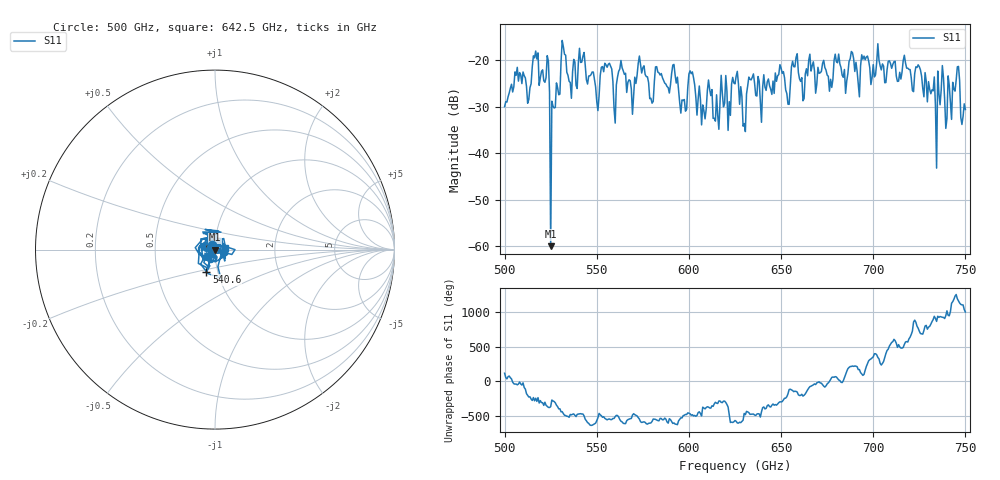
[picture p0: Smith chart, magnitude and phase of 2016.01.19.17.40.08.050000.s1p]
!Created with skrf (http://scikit-rf.org).
# GHz S RI R 50.0
!freq ReS11 ImS11
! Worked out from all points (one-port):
!   401 points, 500 GHz to 750 GHz, reference 50 ohm
!   lowest |S11| = -60.0 dB at 525 GHz (marker M1), VSWR 1.00, Z = 50.1 - j0.0104 ohm
!   |S11| at or under -10 dB: start of sweep to end of sweep
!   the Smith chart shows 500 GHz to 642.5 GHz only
!   S11 on the Smith chart (normalised r, x): 500 GHz: 0.97, +0.05; 540.6 GHz: 0.88, -0.22; 642.5 GHz: 1.12, +0.02
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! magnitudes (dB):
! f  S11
! 500 GHz  -30.0
! 506.9 GHz  -21.6
! 513.1 GHz  -28.5
! 516.9 GHz  -18.1
! 523.1 GHz  -19.1
! 525 GHz  -60.0
! 526.2 GHz  -29.9
! 526.9 GHz  -30.3
! 531.2 GHz  -15.8
! 540.6 GHz  -17.5
! 550 GHz  -28.9
! 562.5 GHz  -21.9
! 593.8 GHz  -23.7
! 597.5 GHz  -28.5
! 601.2 GHz  -22.9
! 615 GHz  -27.5
! 625 GHz  -25.1
! 630 GHz  -33.7
! 633.8 GHz  -24.3
! 642.5 GHz  -24.7
! 650 GHz  -21.7
! 653.8 GHz  -29.5
! 656.2 GHz  -20.3
! 687.5 GHz  -19.7
! 718.8 GHz  -21.7
! 735 GHz  -22.4
! 745.6 GHz  -21.5
! 750 GHz  -30.6
